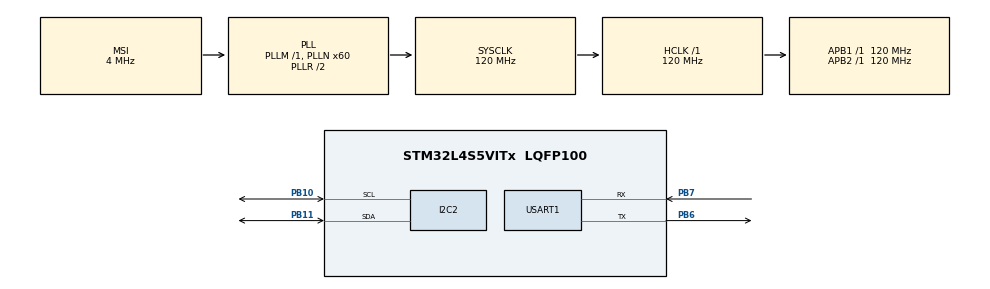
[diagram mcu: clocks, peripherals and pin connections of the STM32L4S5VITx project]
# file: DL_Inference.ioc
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I2C2.Timing=0x30A175AB
Mcu.Family=STM32L4
Mcu.Name=STM32L4S5VITx
Mcu.Package=LQFP100
NVIC.PriorityGroup=NVIC_PRIORITYGROUP_4
PB10.Mode=I2C
PB10.Signal=I2C2_SCL
PB11.Mode=I2C
PB11.Signal=I2C2_SDA
PB6.Mode=Asynchronous
PB6.Signal=USART1_TX
PB7.Mode=Asynchronous
PB7.Signal=USART1_RX
ProjectManager.HeapSize=0x200
ProjectManager.StackSize=0x400
ProjectManager.TargetToolchain=STM32CubeIDE
RCC.ADCFreq_Value=48000000
RCC.AHBFreq_Value=120000000
RCC.APB1Freq_Value=120000000
RCC.APB1TimFreq_Value=120000000
RCC.APB2Freq_Value=120000000
RCC.APB2TimFreq_Value=120000000
RCC.CortexFreq_Value=120000000
RCC.HCLKFreq_Value=120000000
RCC.HSE_VALUE=8000000
RCC.HSI48_VALUE=48000000
RCC.HSI_VALUE=16000000
RCC.MSI_VALUE=4000000
RCC.PLLN=60
RCC.PLLSAI1N=24
RCC.SYSCLKFreq_VALUE=120000000
RCC.SYSCLKSource=RCC_SYSCLKSOURCE_PLLCLK
RCC.USBFreq_Value=48000000
RCC.VCOOutputFreq_Value=240000000
STMicroelectronics.X-CUBE-AI.10.2.1.ActivationBufferSizeList=2196
STMicroelectronics.X-CUBE-AI.10.2.1.ActivationBuffers=pool0
STMicroelectronics.X-CUBE-AI.10.2.1.ActivationNames=pool0
STMicroelectronics.X-CUBE-AI.10.2.1.ActivationSizes=AI_NETWORK_DATA_ACTIVATION_1_SIZE
STMicroelectronics.X-CUBE-AI.10.2.1.HeapSize=0x800
STMicroelectronics.X-CUBE-AI.10.2.1.InternalRamActivationBufferMaxSize=AI_NETWORK_DATA_ACTIVATIONS_SIZE
STMicroelectronics.X-CUBE-AI.10.2.1.LatestDirectoryUsed-a2bbf6b864daf28128e4f1ecdb26d35960780f2d8ccf7c4e8d474a24d286add7=D\:\\RKS_TinyML_Workspace\\TinyML_Workshop_Nitte\\ONNX
STMicroelectronics.X-CUBE-AI.10.2.1.MaximumNumberOfInputLayer=1
STMicroelectronics.X-CUBE-AI.10.2.1.MaximumNumberOfOutputLayer=1
STMicroelectronics.X-CUBE-AI.10.2.1.MaximumSizeOfInputLayer=1
STMicroelectronics.X-CUBE-AI.10.2.1.MaximumSizeOfOutputLayer=1
STMicroelectronics.X-CUBE-AI.10.2.1.ModelActualCompression-a2bbf6b864daf28128e4f1ecdb26d35960780f2d8ccf7c4e8d474a24d286add7=0.0
STMicroelectronics.X-CUBE-AI.10.2.1.ModelCompression-a2bbf6b864daf28128e4f1ecdb26d35960780f2d8ccf7c4e8d474a24d286add7=None
STMicroelectronics.X-CUBE-AI.10.2.1.ModelFlashOccupation-a2bbf6b864daf28128e4f1ecdb26d35960780f2d8ccf7c4e8d474a24d286add7=19528
STMicroelectronics.X-CUBE-AI.10.2.1.ModelHashList=a2bbf6b864daf28128e4f1ecdb26d35960780f2d8ccf7c4e8d474a24d286add7
STMicroelectronics.X-CUBE-AI.10.2.1.ModelKind-a2bbf6b864daf28128e4f1ecdb26d35960780f2d8ccf7c4e8d474a24d286add7=ONNX
STMicroelectronics.X-CUBE-AI.10.2.1.ModelMacc-a2bbf6b864daf28128e4f1ecdb26d35960780f2d8ccf7c4e8d474a24d286add7=2789
STMicroelectronics.X-CUBE-AI.10.2.1.ModelName-a2bbf6b864daf28128e4f1ecdb26d35960780f2d8ccf7c4e8d474a24d286add7=network
STMicroelectronics.X-CUBE-AI.10.2.1.ModelNameList=network
STMicroelectronics.X-CUBE-AI.10.2.1.ModelRamOccupation-a2bbf6b864daf28128e4f1ecdb26d35960780f2d8ccf7c4e8d474a24d286add7=2196
STMicroelectronics.X-CUBE-AI.10.2.1.ModelStructureFile-a2bbf6b864daf28128e4f1ecdb26d35960780f2d8ccf7c4e8d474a24d286add7=D\:\\RKS_TinyML_Workspace\\TinyML_Workshop_Nitte\\ONNX\\mlp_model.onnx
STMicroelectronics.X-CUBE-AI.10.2.1.ModelType-a2bbf6b864daf28128e4f1ecdb26d35960780f2d8ccf7c4e8d474a24d286add7=STM32Cube.AI MCU runtime
STMicroelectronics.X-CUBE-AI.10.2.1.ReadyForCodeGeneration=true
STMicroelectronics.X-CUBE-AI.10.2.1.StackSize=0x800
STMicroelectronics.X-CUBE-AI.10.2.1.WorkingBufferStartAddrList=0xFFFFFFFF
STMicroelectronics.X-CUBE-AI.10.2.1.XAaCUBEAaAICcArtificialOoIntelligenceJjCore=true
STMicroelectronics.X-CUBE-AI.10.2.1.copyWeightToRam=false
STMicroelectronics.X-CUBE-AI.10.2.1.customLayerConfigEnabled=false
STMicroelectronics.X-CUBE-AI.10.2.1.noOnnxIoTranspose=false
STMicroelectronics.X-CUBE-AI.10.2.1.useInputAllocation=true
STMicroelectronics.X-CUBE-AI.10.2.1.useOutputAllocation=true
USART1.VirtualMode-Asynchronous=VM_ASYNC
VP_STMicroelectronics.X-CUBE-AI_VS_ArtificialOoIntelligenceJjXAaCUBEAaAI_10.2.1.Mode=ArtificialOoIntelligenceJjXAaCUBEAaAI
board=B-L4S5I-IOT01A

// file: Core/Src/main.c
/* USER CODE BEGIN Header */
/**
  ******************************************************************************
  * @file           : main.c
  * @brief          : Main program body
  ******************************************************************************
  * @attention
  *
  * Copyright (c) 2026 STMicroelectronics.
  * All rights reserved.
  *
  * This software is licensed under terms that can be found in the LICENSE file
  * in the root directory of this software component.
  * If no LICENSE file comes with this software, it is provided AS-IS.
  *
  ******************************************************************************
  */
/* USER CODE END Header */
#include "main.h"

/* USER CODE BEGIN Includes */
#include "stdio.h"
#include "string.h"
#include "stdlib.h"

#include "network.h"
#include "network_data.h"
#include "network_data_params.h"
/* USER CODE END Includes */

I2C_HandleTypeDef hi2c2;

UART_HandleTypeDef huart1;

/* USER CODE BEGIN PV */

/*--------------------------------------------------------------------
 * X-CUBE-AI Variables
 *-------------------------------------------------------------------*/

ai_handle network = AI_HANDLE_NULL;

AI_ALIGNED(4)
static ai_u8 activations_buffer[AI_NETWORK_DATA_ACTIVATIONS_SIZE];

static ai_buffer *ai_input;
static ai_buffer *ai_output;

/*--------------------------------------------------------------------
 * Neural Network Buffers
 *-------------------------------------------------------------------*/

float input_data[6];

float output_data[5];

int32_t predicted_label;

/*--------------------------------------------------------------------
 * UART Receive Buffer
 *-------------------------------------------------------------------*/

#define RX_BUFFER_SIZE      128

char rx_buffer[RX_BUFFER_SIZE];

/*--------------------------------------------------------------------
 * UART Receive Character
 *-------------------------------------------------------------------*/

uint8_t rx_char;

/*--------------------------------------------------------------------
 * Receive Status
 *-------------------------------------------------------------------*/

uint16_t rx_index = 0;

/* USER CODE END PV */

void SystemClock_Config(void);
static void MX_GPIO_Init(void);
static void MX_I2C2_Init(void);
static void MX_USART1_UART_Init(void);
/* USER CODE BEGIN PFP */

void MX_X_CUBE_AI_Init(void);

void AI_Run(void);

uint8_t Receive_Test_Sample(void);

/* USER CODE END PFP */

/* USER CODE BEGIN 0 */
void MX_X_CUBE_AI_Init(void)
{
    ai_error err;

    /* Activation memory */
    const ai_handle activations[] =
    {
    		activations_buffer
    };

    /* Use embedded weights generated by X-CUBE-AI */
    err = ai_network_create_and_init(
            &network,
            activations,
            NULL);

    if (err.type != AI_ERROR_NONE)
    {
        printf("AI Init Failed\r\n");
        printf("Type = %d\r\n", err.type);
        printf("Code = %d\r\n", err.code);
        Error_Handler();
    }

    ai_input  = ai_network_inputs_get(network, NULL);
    ai_output = ai_network_outputs_get(network, NULL);

    printf("AI Initialized Successfully\r\n");
}

/* USER CODE END 0 */

int main(void)
{

  /* MCU Configuration--------------------------------------------------------*/

  /* Reset of all peripherals, Initializes the Flash interface and the Systick. */
  HAL_Init();

  /* Configure the system clock */
  SystemClock_Config();

  /* Initialize all configured peripherals */
  MX_GPIO_Init();
  MX_I2C2_Init();
  MX_USART1_UART_Init();
  /* USER CODE BEGIN 2 */

  printf("\r\n");
  printf("========================================\r\n");
  printf("STM32 FP32 Validation Firmware\r\n");
  printf("========================================\r\n");

  MX_X_CUBE_AI_Init();

  printf("Waiting for normalized feature vectors...\r\n");
  printf("Input Format:\r\n");
  printf("f1,f2,f3,f4,f5,f6\r\n\r\n");

  /* USER CODE END 2 */

  /* Infinite loop */
  while (1)
  {

    /* USER CODE BEGIN 3 */
	  if (Receive_Test_Sample())
	       {
	           /* Run Neural Network */
	           AI_Run();

	           /* Return only the predicted class */
	           printf("%ld\r\n", predicted_label);
	       }
  }
  /* USER CODE END 3 */
}

void SystemClock_Config(void)
{
  RCC_OscInitTypeDef RCC_OscInitStruct = {0};
  RCC_ClkInitTypeDef RCC_ClkInitStruct = {0};

  /** Configure the main internal regulator output voltage
  */
  if (HAL_PWREx_ControlVoltageScaling(PWR_REGULATOR_VOLTAGE_SCALE1_BOOST) != HAL_OK)
  {
    Error_Handler();
  }

  /** Initializes the RCC Oscillators according to the specified parameters
  * in the RCC_OscInitTypeDef structure.
  */
  RCC_OscInitStruct.OscillatorType = RCC_OSCILLATORTYPE_MSI;
  RCC_OscInitStruct.MSIState = RCC_MSI_ON;
  RCC_OscInitStruct.MSICalibrationValue = 0;
  RCC_OscInitStruct.MSIClockRange = RCC_MSIRANGE_6;
  RCC_OscInitStruct.PLL.PLLState = RCC_PLL_ON;
  RCC_OscInitStruct.PLL.PLLSource = RCC_PLLSOURCE_MSI;
  RCC_OscInitStruct.PLL.PLLM = 1;
  RCC_OscInitStruct.PLL.PLLN = 60;
  RCC_OscInitStruct.PLL.PLLP = RCC_PLLP_DIV2;
  RCC_OscInitStruct.PLL.PLLQ = RCC_PLLQ_DIV2;
  RCC_OscInitStruct.PLL.PLLR = RCC_PLLR_DIV2;
  if (HAL_RCC_OscConfig(&RCC_OscInitStruct) != HAL_OK)
  {
    Error_Handler();
  }

  /** Initializes the CPU, AHB and APB buses clocks
  */
  RCC_ClkInitStruct.ClockType = RCC_CLOCKTYPE_HCLK|RCC_CLOCKTYPE_SYSCLK
                              |RCC_CLOCKTYPE_PCLK1|RCC_CLOCKTYPE_PCLK2;
  RCC_ClkInitStruct.SYSCLKSource = RCC_SYSCLKSOURCE_PLLCLK;
  RCC_ClkInitStruct.AHBCLKDivider = RCC_SYSCLK_DIV1;
  RCC_ClkInitStruct.APB1CLKDivider = RCC_HCLK_DIV1;
  RCC_ClkInitStruct.APB2CLKDivider = RCC_HCLK_DIV1;

  if (HAL_RCC_ClockConfig(&RCC_ClkInitStruct, FLASH_LATENCY_5) != HAL_OK)
  {
    Error_Handler();
  }
}

static void MX_I2C2_Init(void)
{

  hi2c2.Instance = I2C2;
  hi2c2.Init.Timing = 0x30A175AB;
  hi2c2.Init.OwnAddress1 = 0;
  hi2c2.Init.AddressingMode = I2C_ADDRESSINGMODE_7BIT;
  hi2c2.Init.DualAddressMode = I2C_DUALADDRESS_DISABLE;
  hi2c2.Init.OwnAddress2 = 0;
  hi2c2.Init.OwnAddress2Masks = I2C_OA2_NOMASK;
  hi2c2.Init.GeneralCallMode = I2C_GENERALCALL_DISABLE;
  hi2c2.Init.NoStretchMode = I2C_NOSTRETCH_DISABLE;
  if (HAL_I2C_Init(&hi2c2) != HAL_OK)
  {
    Error_Handler();
  }

  /** Configure Analogue filter
  */
  if (HAL_I2CEx_ConfigAnalogFilter(&hi2c2, I2C_ANALOGFILTER_ENABLE) != HAL_OK)
  {
    Error_Handler();
  }

  /** Configure Digital filter
  */
  if (HAL_I2CEx_ConfigDigitalFilter(&hi2c2, 0) != HAL_OK)
  {
    Error_Handler();
  }

}

static void MX_USART1_UART_Init(void)
{

  huart1.Instance = USART1;
  huart1.Init.BaudRate = 115200;
  huart1.Init.WordLength = UART_WORDLENGTH_8B;
  huart1.Init.StopBits = UART_STOPBITS_1;
  huart1.Init.Parity = UART_PARITY_NONE;
  huart1.Init.Mode = UART_MODE_TX_RX;
  huart1.Init.HwFlowCtl = UART_HWCONTROL_NONE;
  huart1.Init.OverSampling = UART_OVERSAMPLING_16;
  huart1.Init.OneBitSampling = UART_ONE_BIT_SAMPLE_DISABLE;
  huart1.Init.ClockPrescaler = UART_PRESCALER_DIV1;
  huart1.AdvancedInit.AdvFeatureInit = UART_ADVFEATURE_NO_INIT;
  if (HAL_UART_Init(&huart1) != HAL_OK)
  {
    Error_Handler();
  }
  if (HAL_UARTEx_SetTxFifoThreshold(&huart1, UART_TXFIFO_THRESHOLD_1_8) != HAL_OK)
  {
    Error_Handler();
  }
  if (HAL_UARTEx_SetRxFifoThreshold(&huart1, UART_RXFIFO_THRESHOLD_1_8) != HAL_OK)
  {
    Error_Handler();
  }
  if (HAL_UARTEx_DisableFifoMode(&huart1) != HAL_OK)
  {
    Error_Handler();
  }

}

static void MX_GPIO_Init(void)
{

  /* GPIO Ports Clock Enable */
  __HAL_RCC_GPIOB_CLK_ENABLE();

}

/* USER CODE BEGIN 4 */
int _write(int file, char *ptr, int len)
{
    HAL_UART_Transmit(&huart1, (uint8_t*)ptr, len, HAL_MAX_DELAY);
    return len;
}

void AI_Run(void)
{
    ai_i32 batch;

    ai_input[0].data = AI_HANDLE_PTR(input_data);
    ai_output[0].data = AI_HANDLE_PTR(output_data);

    batch = ai_network_run(network,
                           ai_input,
                           ai_output);

    if (batch != 1)
    {
        printf("AI_RUN_ERROR\r\n");
        return;
    }

    predicted_label = 0;

    for (int i = 1; i < 5; i++)
    {
        if (output_data[i] > output_data[predicted_label])
        {
            predicted_label = i;
        }
    }
}

uint8_t Receive_Test_Sample(void)
{
    rx_index = 0;

    memset(rx_buffer, 0, RX_BUFFER_SIZE);

    while (1)
    {
        /* Receive one character */
        HAL_UART_Receive(&huart1,
                         &rx_char,
                         1,
                         HAL_MAX_DELAY);

        /* End of line reached */
        if ((rx_char == '\n') || (rx_char == '\r'))
        {
            if (rx_index > 0)
            {
                rx_buffer[rx_index] = '\0';
                break;
            }
        }
        else
        {
            if (rx_index < (RX_BUFFER_SIZE - 1))
            {
                rx_buffer[rx_index++] = rx_char;
            }
        }
    }

    /* Parse six floating-point values */
    int count = sscanf(rx_buffer,
                       "%f,%f,%f,%f,%f,%f",
                       &input_data[0],
                       &input_data[1],
                       &input_data[2],
                       &input_data[3],
                       &input_data[4],
                       &input_data[5]);

    if (count != 6)
    {
        printf("ERROR\r\n");
        return 0;
    }

    return 1;
}
/* USER CODE END 4 */

void Error_Handler(void)
{
  __disable_irq();
  while (1)
  {
  }
}
